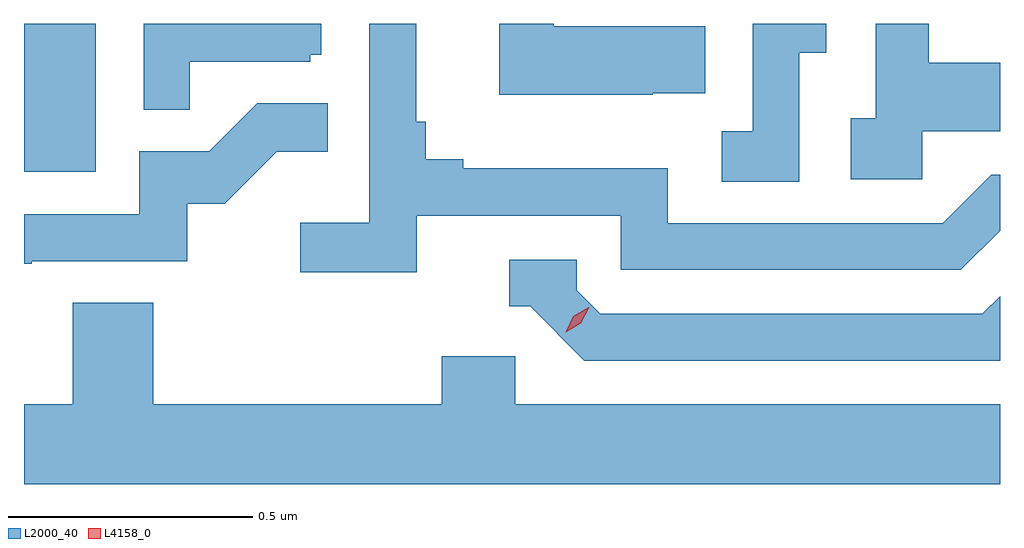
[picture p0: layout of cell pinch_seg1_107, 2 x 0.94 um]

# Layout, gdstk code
import gdstk
lib = gdstk.Library(unit=1e-6, precision=1e-09)
def R(c, l, rs):  # rectangles x0, y0, x1, y1
    for r in rs: c.add(gdstk.rectangle(r[:2], r[2:], *l))
def P(c, l, *ps):  # polygons
    for p in ps: c.add(gdstk.Polygon(p, *l))
L2000_40 = (2000, 40)
L4158_0 = (4158, 0)

pinch_seg1_107 = lib.new_cell('pinch_seg1_107')
R(pinch_seg1_107, L2000_40, [(1040.683,549.708,1040.83,550.011)])
P(pinch_seg1_107, L2000_40, [(1042.524,549.791),(1042.683,549.791),(1042.683,549.931),(1042.537,549.931),(1042.537,550.011),(1042.428,550.011),(1042.428,549.818),(1042.377,549.818),(1042.377,549.693),(1042.524,549.693)],
  [(1042.272,549.952),(1042.327,549.952),(1042.327,550.011),(1042.176,550.011),(1042.176,549.791),(1042.113,549.791),(1042.113,549.688),(1042.272,549.688)],
  [(1041.971,549.869),(1042.079,549.869),(1042.079,550.006),(1041.769,550.006),(1041.769,550.011),(1041.657,550.011),(1041.657,549.866),(1041.971,549.866)],
  [(1041.488,549.618),(1041.906,549.618),(1041.906,549.507),(1042.603,549.507),(1042.683,549.587),(1042.683,549.702),(1042.665,549.702),(1042.566,549.603),(1042.002,549.603),(1042.002,549.715),(1041.583,549.715),(1041.583,549.734),(1041.506,549.734),(1041.506,549.811),(1041.487,549.811),(1041.487,550.011),(1041.39,550.011),(1041.39,549.604),(1041.249,549.604),(1041.249,549.502),(1041.488,549.502)],
  [(1041.023,549.933),(1041.27,549.933),(1041.27,549.948),(1041.292,549.948),(1041.292,550.011),(1040.928,550.011),(1040.928,549.835),(1041.023,549.835)],
  [(1040.699,549.525),(1041.018,549.525),(1041.018,549.642),(1041.094,549.642),(1041.201,549.749),(1041.305,549.749),(1041.305,549.848),(1041.161,549.848),(1041.063,549.75),(1040.919,549.75),(1040.919,549.621),(1040.683,549.621),(1040.683,549.52),(1040.699,549.52)],
  [(1042.683,549.453),(1042.647,549.417),(1041.864,549.417),(1041.816,549.465),(1041.816,549.528),(1041.677,549.528),(1041.677,549.432),(1041.72,549.432),(1041.831,549.321),(1042.683,549.321)],
  [(1042.683,549.232),(1041.69,549.232),(1041.69,549.33),(1041.539,549.33),(1041.539,549.232),(1040.948,549.232),(1040.948,549.44),(1040.783,549.44),(1040.783,549.232),(1040.683,549.232),(1040.683,549.068),(1042.683,549.068)])
P(pinch_seg1_107, L4158_0, [(1041.793,549.379),(1041.793,549.379),(1041.809,549.412),(1041.84,549.43),(1041.841,549.43),(1041.841,549.43),(1041.824,549.398),(1041.793,549.379)])

lib.write_gds('pinch_seg1_107.gds')
